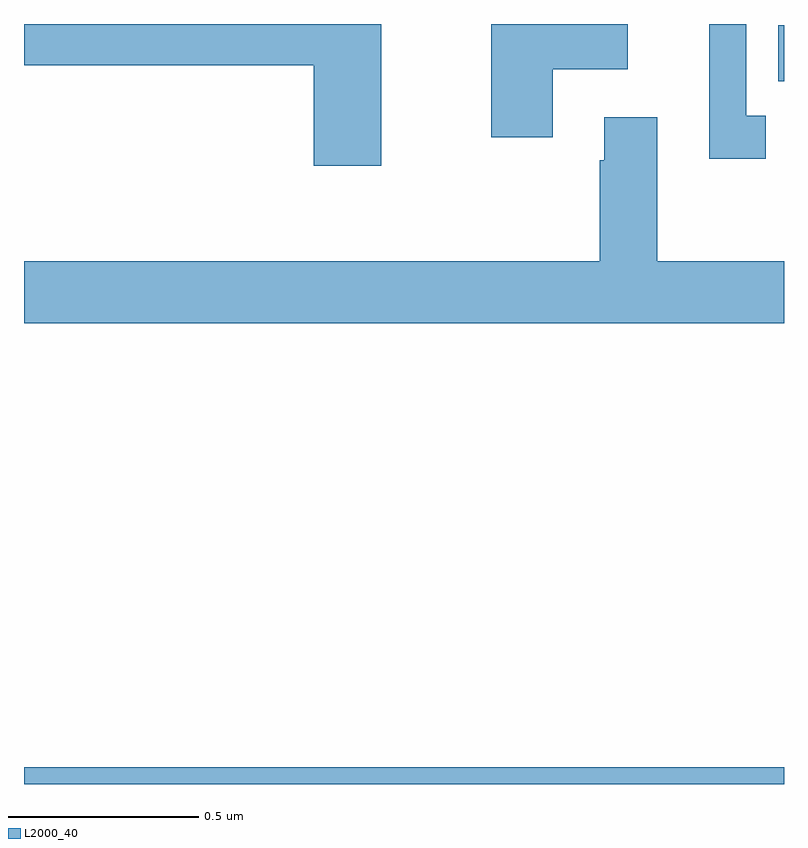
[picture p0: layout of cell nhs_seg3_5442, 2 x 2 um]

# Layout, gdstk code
import gdstk
lib = gdstk.Library(unit=1e-6, precision=1e-09)
def R(c, l, rs):  # rectangles x0, y0, x1, y1
    for r in rs: c.add(gdstk.rectangle(r[:2], r[2:], *l))
def P(c, l, *ps):  # polygons
    for p in ps: c.add(gdstk.Polygon(p, *l))
L2000_40 = (2000, 40)

nhs_seg3_5442 = lib.new_cell('nhs_seg3_5442')
R(nhs_seg3_5442, L2000_40, [(179,670.4,181,670.444), (180.985,672.25,181,672.397)])
P(nhs_seg3_5442, L2000_40, [(179.94,672.4),(179,672.4),(179,672.292),(179.762,672.292),(179.762,672.027),(179.94,672.027)],
  [(180.391,672.281),(180.589,672.281),(180.589,672.4),(180.229,672.4),(180.229,672.102),(180.391,672.102)],
  [(180.952,672.158),(180.9,672.158),(180.9,672.4),(180.803,672.4),(180.803,672.045),(180.952,672.045)],
  [(181,671.776),(180.667,671.776),(180.667,672.154),(180.527,672.154),(180.527,672.041),(180.515,672.041),(180.515,671.776),(179,671.776),(179,671.612),(181,671.612)])

lib.write_gds('nhs_seg3_5442.gds')
